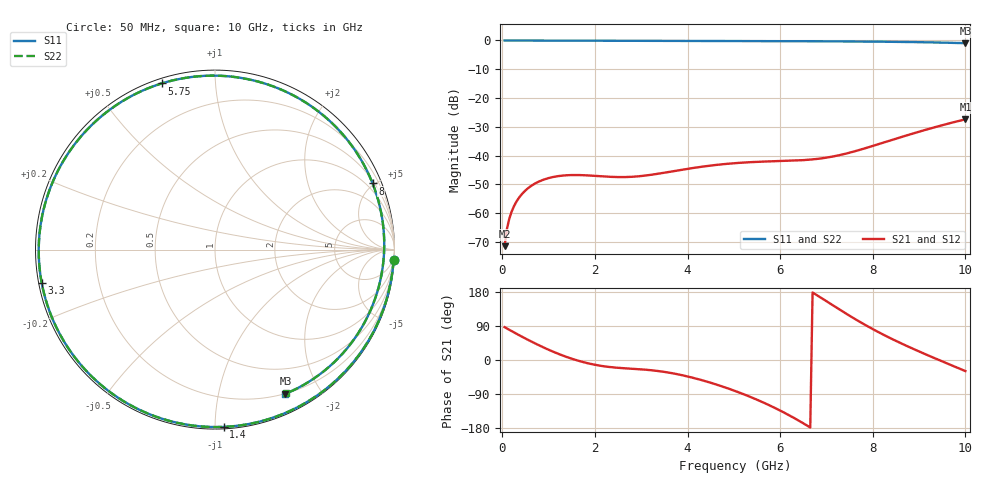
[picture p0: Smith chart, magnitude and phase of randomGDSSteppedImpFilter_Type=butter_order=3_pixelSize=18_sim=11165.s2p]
! freq	dB(S11)	phase(S11)	dB(S12)	phase(S12)
!  dB(S21)	phase(S21)	dB(S22)	phase(S22)
!S-par simulation data
#  GHz  S  DB  R 50
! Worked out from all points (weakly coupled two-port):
!   200 points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, 50 MHz to 10 GHz, reference 50 ohm
!   highest |S21| = -27.42 dB at 10 GHz (marker M1); lowest = -71.5 dB at 50 MHz (marker M2)
!   lowest |S11| = -1.0 dB at 10 GHz (marker M3), VSWR 17.85, Z = 9.91 - j79.2 ohm
!   |S11| at or under -10 dB: nowhere
!   |S22| runs from -1.0 to 0.0 dB; largest |S21 - S12| = 0
!   S11 on the Smith chart (normalised r, x): 50 MHz: 2, -35; 1.4 GHz: 0.01, -1.05; 3.3 GHz: 0.01, -0.10; 5.75 GHz: 0.02, +0.73; 8 GHz: 0.62, +4.89; 10 GHz: 0.20, -1.58
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0.05  -0.02 -3.3  -71.45 86.6  -71.45 86.6  -0.02 -3.3
0.1  -0.03 -6.7  -65.45 83.2  -65.45 83.2  -0.03 -6.7
0.2  -0.04 -13.5  -59.52 76.4  -59.52 76.4  -0.04 -13.5
0.45  -0.05 -30.2  -52.90 59.9  -52.90 59.9  -0.05 -30.2
0.9  -0.07 -58.7  -48.31 32.6  -48.31 32.6  -0.07 -58.7
1.4  -0.10 -87.2  -46.82 7.6  -46.82 7.6  -0.10 -87.2
1.75  -0.11 -105.1  -46.81 -5.7  -46.81 -5.7  -0.11 -105.1
2.5  -0.13 -138.5  -47.46 -20.6  -47.46 -20.6  -0.13 -138.5
3.3  -0.15 -169.0  -46.47 -28.1  -46.47 -28.1  -0.15 -169.0
3.4  -0.15 -172.6  -46.21 -29.7  -46.21 -29.7  -0.15 -172.5
4.2  -0.18 160.0  -44.11 -49.6  -44.11 -49.6  -0.18 160.0
5.05  -0.21 131.6  -42.60 -82.8  -42.60 -82.8  -0.21 131.7
5.75  -0.24 107.8  -42.03 -118.5  -42.03 -118.5  -0.25 107.9
6.25  -0.27 90.1  -41.78 -149.6  -41.78 -149.6  -0.27 90.3
6.7  -0.30 73.7  -41.32 178.2  -41.32 178.2  -0.30 73.8
7.3  -0.35 50.8  -39.78 131.8  -39.78 131.8  -0.35 51.0
8  -0.42 22.8  -36.65 81.5  -36.65 81.5  -0.42 23.0
8.35  -0.48 8.3  -34.89 59.4  -34.89 59.4  -0.48 8.5
8.75  -0.56 -8.6  -32.91 36.2  -32.91 36.2  -0.56 -8.4
9.15  -0.66 -25.9  -31.01 14.5  -31.01 14.5  -0.66 -25.7
9.6  -0.81 -45.8  -29.03 -8.8  -29.03 -8.8  -0.80 -45.6
10  -0.97 -64.0  -27.42 -29.2  -27.42 -29.2  -0.97 -63.7
